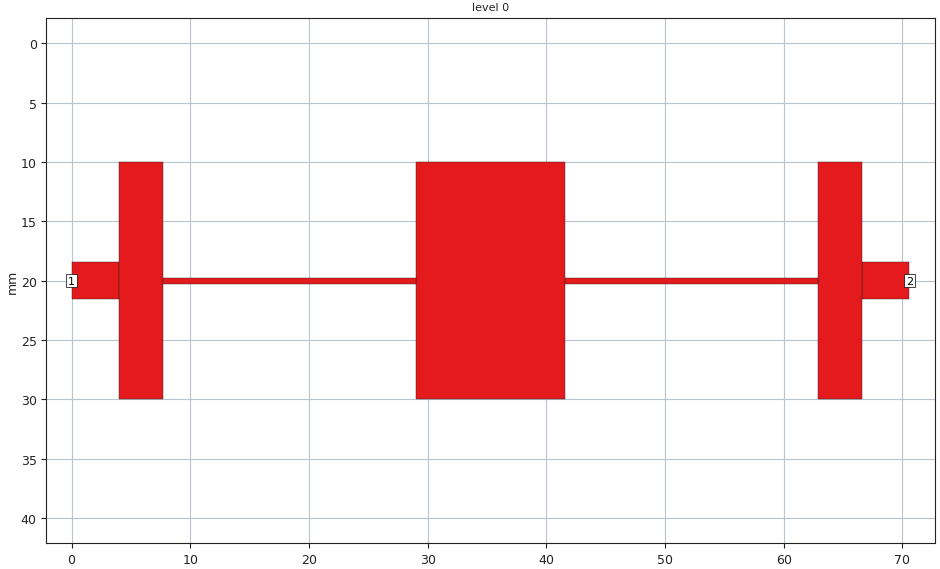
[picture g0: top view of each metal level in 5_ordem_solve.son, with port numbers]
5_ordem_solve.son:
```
FTYP SONPROJ 13 ! Sonnet Project File
VER 15.53.lite
HEADER
LIC SL290709.106431 847bebfebdba DESKTOP-1CMJ3DP Arihe
DAT 05/05/2019 17:36:27
BUILT_BY_CREATED xgeom 15.53-Lite 04/13/2019 20:59:13
BUILT_BY_SAVED xgeom 15.53-Lite
MDATE 05/05/2019 17:36:27
HDATE 05/05/2019 17:36:27
END HEADER
DIM
FREQ GHZ
RSVY OHMM
IND NH
LNG MM
ANG DEG
CON /OH
CAP PF
RES OH
END DIM
FREQ
ABS 1.0e-9 3.0 
END FREQ
CONTROL
ABS
OPTIONS  -dj 
SPEED 0
CACHE_ABS 1
TARG_ABS 300
Q_ACC N
END CONTROL
GEO
DRP1 LEFT LINK
POLY 12 1
1
DRP1 RIGHT LINK
POLY 14 1
0
TMET "Lossless" 0 SUP 0 0 0 0
BMET "Lossless" 0 SUP 0 0 0 0
MET "Copper" 1 NOR 58000000 0 0.0347 
BOX 1 70.6 40 1412 160 20 0
      20 1 1 0 0 0 0 "Air"
      1.5306 4.4 1 0.02 0 0 0 "FR-4"
LORGN 0 40 U 
POR1 STD
POLY 12 1
3
1 50 0 0 0 -1.484743677e-006 20 
POR1 STD
POLY 14 1
1
2 50 0 0 0 70.59999852 20 
NUM 7
0 5 0 N 12 1 1 100 100 0 0 0 Y
-1.484743677e-006 18.45
3.999998515 18.45
3.999998515 21.55
-1.484743677e-006 21.55
-1.484743677e-006 18.45
END
0 5 0 N 14 1 1 100 100 0 0 0 Y
66.59999852 18.45
70.59999852 18.45
70.59999852 21.55
66.59999852 21.55
66.59999852 18.45
END
0 5 0 N 26 1 1 100 100 0 0 0 Y
3.999997986 10
7.699997986 10
7.699997986 30
3.999997986 30
3.999997986 10
END
0 5 0 N 27 1 1 100 100 0 0 0 Y
62.89999799 10
66.59999799 10
66.59999799 30
62.89999799 30
62.89999799 10
END
0 5 0 N 30 1 1 100 100 0 0 0 Y
28.99999799 10
41.59999799 10
41.59999799 30
28.99999799 30
28.99999799 10
END
0 5 0 N 33 1 1 100 100 0 0 0 Y
7.699997986 19.75
28.99999799 19.75
28.99999799 20.25
7.699997986 20.25
7.699997986 19.75
END
0 5 0 N 34 1 1 100 100 0 0 0 Y
41.59999799 19.75
62.89999799 19.75
62.89999799 20.25
41.59999799 20.25
41.59999799 19.75
END
END GEO
OPT
MAX 100
VARS
END
END OPT
VARSWP
END VARSWP
FILEOUT
FOLDER "C:\Users\Arihe\Desktop\Simulacao Filtros\Chebyshev 3 ordem"
END FILEOUT
QSG
IMPORT NO
EXTRA_METAL NO
UNITS YES
ALIGN NO
REF NO
VIEW_RES NO
METALS YES
USED YES
END QSG
```
